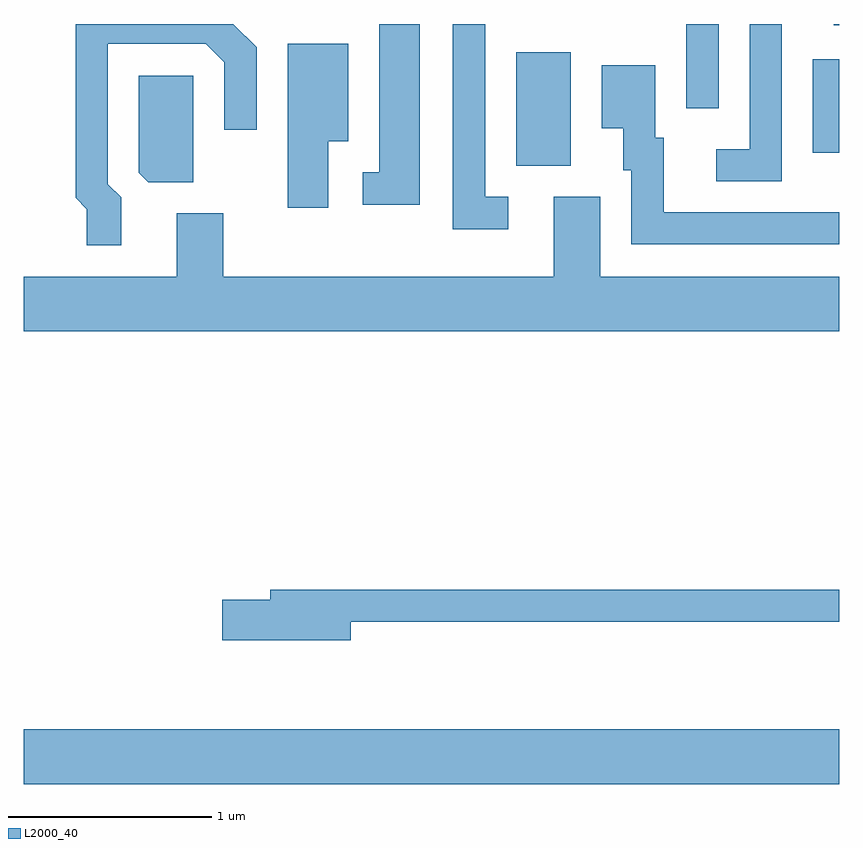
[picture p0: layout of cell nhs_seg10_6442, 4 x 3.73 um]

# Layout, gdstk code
import gdstk
lib = gdstk.Library(unit=1e-6, precision=1e-09)
def R(c, l, rs):  # rectangles x0, y0, x1, y1
    for r in rs: c.add(gdstk.rectangle(r[:2], r[2:], *l))
def P(c, l, *ps):  # polygons
    for p in ps: c.add(gdstk.Polygon(p, *l))
L2000_40 = (2000, 40)

nhs_seg10_6442 = lib.new_cell('nhs_seg10_6442')
R(nhs_seg10_6442, L2000_40, [(375.611,2122.796,379.611,2123.064), (378.026,2125.826,378.294,2126.384), (379.481,2125.891,379.611,2126.349), (378.861,2126.108,379.019,2126.522), (379.583,2126.516,379.611,2126.522)])
P(nhs_seg10_6442, L2000_40, [(376.089,2125.672),(376.024,2125.737),(376.024,2126.426),(376.504,2126.426),(376.596,2126.334),(376.596,2126.003),(376.754,2126.003),(376.754,2126.407),(376.639,2126.522),(375.866,2126.522),(375.866,2125.669),(375.921,2125.614),(375.921,2125.438),(376.089,2125.438)],
  [(377.988,2125.674),(377.874,2125.674),(377.874,2126.522),(377.716,2126.522),(377.716,2125.516),(377.988,2125.516)],
  [(377.554,2126.522),(377.356,2126.522),(377.356,2125.794),(377.273,2125.794),(377.273,2125.636),(377.554,2125.636)],
  [(379.329,2126.522),(379.171,2126.522),(379.171,2125.909),(379.008,2125.909),(379.008,2125.751),(379.329,2125.751)],
  [(377.104,2125.946),(377.204,2125.946),(377.204,2126.424),(376.906,2126.424),(376.906,2125.621),(377.104,2125.621)],
  [(379.611,2125.599),(378.749,2125.599),(378.749,2125.964),(378.709,2125.964),(378.709,2126.319),(378.446,2126.319),(378.446,2126.011),(378.551,2126.011),(378.551,2125.806),(378.591,2125.806),(378.591,2125.441),(379.611,2125.441)],
  [(376.444,2126.269),(376.176,2126.269),(376.176,2125.792),(376.222,2125.746),(376.444,2125.746)],
  [(379.611,2125.284),(378.439,2125.284),(378.439,2125.674),(378.211,2125.674),(378.211,2125.284),(376.589,2125.284),(376.589,2125.594),(376.361,2125.594),(376.361,2125.284),(375.611,2125.284),(375.611,2125.016),(379.611,2125.016)],
  [(377.214,2123.591),(379.611,2123.591),(379.611,2123.749),(376.821,2123.749),(376.821,2123.699),(376.586,2123.699),(376.586,2123.501),(377.214,2123.501)])

lib.write_gds('nhs_seg10_6442.gds')
